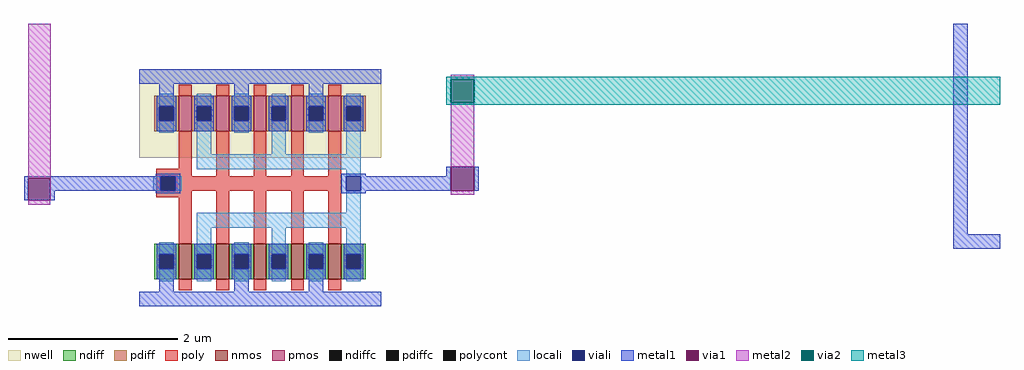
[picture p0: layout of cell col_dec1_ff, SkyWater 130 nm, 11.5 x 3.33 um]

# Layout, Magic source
magic
tech sky130A
magscale 1 2
<< nwell >>
rect 271 350 841 558
<< nmos >>
rect 365 63 395 147
rect 453 63 483 147
rect 541 63 571 147
rect 629 63 659 147
rect 717 63 747 147
<< pmos >>
rect 365 412 395 496
rect 453 412 483 496
rect 541 412 571 496
rect 629 412 659 496
rect 717 412 747 496
<< ndiff >>
rect 307 122 365 147
rect 307 88 319 122
rect 353 88 365 122
rect 307 63 365 88
rect 395 122 453 147
rect 395 88 407 122
rect 441 88 453 122
rect 395 63 453 88
rect 483 122 541 147
rect 483 88 495 122
rect 529 88 541 122
rect 483 63 541 88
rect 571 122 629 147
rect 571 88 583 122
rect 617 88 629 122
rect 571 63 629 88
rect 659 122 717 147
rect 659 88 671 122
rect 705 88 717 122
rect 659 63 717 88
rect 747 122 805 147
rect 747 88 759 122
rect 793 88 805 122
rect 747 63 805 88
<< pdiff >>
rect 307 471 365 496
rect 307 437 319 471
rect 353 437 365 471
rect 307 412 365 437
rect 395 471 453 496
rect 395 437 407 471
rect 441 437 453 471
rect 395 412 453 437
rect 483 471 541 496
rect 483 437 495 471
rect 529 437 541 471
rect 483 412 541 437
rect 571 471 629 496
rect 571 437 583 471
rect 617 437 629 471
rect 571 412 629 437
rect 659 471 717 496
rect 659 437 671 471
rect 705 437 717 471
rect 659 412 717 437
rect 747 471 805 496
rect 747 437 759 471
rect 793 437 805 471
rect 747 412 805 437
<< ndiffc >>
rect 319 88 353 122
rect 407 88 441 122
rect 495 88 529 122
rect 583 88 617 122
rect 671 88 705 122
rect 759 88 793 122
<< pdiffc >>
rect 319 437 353 471
rect 407 437 441 471
rect 495 437 529 471
rect 583 437 617 471
rect 671 437 705 471
rect 759 437 793 471
<< poly >>
rect 365 496 395 522
rect 453 496 483 522
rect 541 496 571 522
rect 629 496 659 522
rect 717 496 747 522
rect 365 324 395 412
rect 312 306 395 324
rect 453 306 483 412
rect 541 306 571 412
rect 629 306 659 412
rect 717 306 747 412
rect 312 272 322 306
rect 356 272 747 306
rect 312 256 395 272
rect 365 147 395 256
rect 453 147 483 272
rect 541 147 571 272
rect 629 147 659 272
rect 717 147 747 272
rect 365 37 395 63
rect 453 37 483 63
rect 541 37 571 63
rect 629 37 659 63
rect 717 37 747 63
<< polycont >>
rect 322 272 356 306
<< locali >>
rect 319 471 353 500
rect 319 408 353 437
rect 407 471 441 500
rect 407 358 441 437
rect 495 471 529 500
rect 495 408 529 437
rect 583 471 617 500
rect 583 358 617 437
rect 671 471 705 500
rect 671 408 705 437
rect 759 471 793 500
rect 759 358 793 437
rect 407 323 793 358
rect 759 306 793 323
rect 305 272 322 306
rect 356 272 372 306
rect 759 220 793 272
rect 407 185 793 220
rect 319 122 353 151
rect 319 59 353 88
rect 407 122 441 185
rect 407 59 441 88
rect 495 122 529 151
rect 495 59 529 88
rect 583 122 617 185
rect 583 59 617 88
rect 671 122 705 151
rect 671 59 705 88
rect 759 122 793 185
rect 759 59 793 88
<< viali >>
rect 319 437 353 471
rect 407 437 441 471
rect 495 437 529 471
rect 583 437 617 471
rect 671 437 705 471
rect 759 437 793 471
rect 322 272 356 306
rect 759 272 793 306
rect 319 88 353 122
rect 407 88 441 122
rect 495 88 529 122
rect 583 88 617 122
rect 671 88 705 122
rect 759 88 793 122
<< metal1 >>
rect 272 524 841 558
rect 319 496 353 524
rect 495 496 529 524
rect 671 496 705 524
rect 313 471 359 496
rect 313 437 319 471
rect 353 437 359 471
rect 313 412 359 437
rect 401 471 447 496
rect 401 437 407 471
rect 441 437 447 471
rect 401 412 447 437
rect 489 471 535 496
rect 489 437 495 471
rect 529 437 535 471
rect 489 412 535 437
rect 577 471 623 496
rect 577 437 583 471
rect 617 437 623 471
rect 577 412 623 437
rect 665 471 711 496
rect 665 437 671 471
rect 705 437 711 471
rect 665 412 711 437
rect 753 471 799 496
rect 753 437 759 471
rect 793 437 799 471
rect 753 412 799 437
rect 310 306 368 312
rect 0 301 322 306
rect 0 249 10 301
rect 62 272 322 301
rect 356 272 368 306
rect 62 249 72 272
rect 310 266 368 272
rect 747 306 805 312
rect 995 306 1005 328
rect 747 272 759 306
rect 793 272 1005 306
rect 1061 272 1071 328
rect 747 266 805 272
rect 2189 169 2223 665
rect 313 122 359 147
rect 313 88 319 122
rect 353 88 359 122
rect 313 63 359 88
rect 401 122 447 147
rect 401 88 407 122
rect 441 88 447 122
rect 401 63 447 88
rect 489 122 535 147
rect 489 88 495 122
rect 529 88 535 122
rect 489 63 535 88
rect 577 122 623 147
rect 577 88 583 122
rect 617 88 623 122
rect 577 63 623 88
rect 665 122 711 147
rect 665 88 671 122
rect 705 88 711 122
rect 665 63 711 88
rect 753 122 799 147
rect 2189 135 2299 169
rect 753 88 759 122
rect 793 88 799 122
rect 753 63 799 88
rect 319 34 353 63
rect 495 34 529 63
rect 671 34 705 63
rect 272 0 841 34
<< via1 >>
rect 10 249 62 301
rect 1005 272 1061 328
<< metal2 >>
rect 10 301 63 665
rect 62 249 63 301
rect 1005 535 1061 545
rect 1005 328 1061 479
rect 1005 262 1061 272
rect 10 239 62 249
<< via2 >>
rect 1005 479 1061 535
<< metal3 >>
rect 995 535 2299 540
rect 995 479 1005 535
rect 1061 479 2299 535
rect 995 474 2299 479
<< end >>
